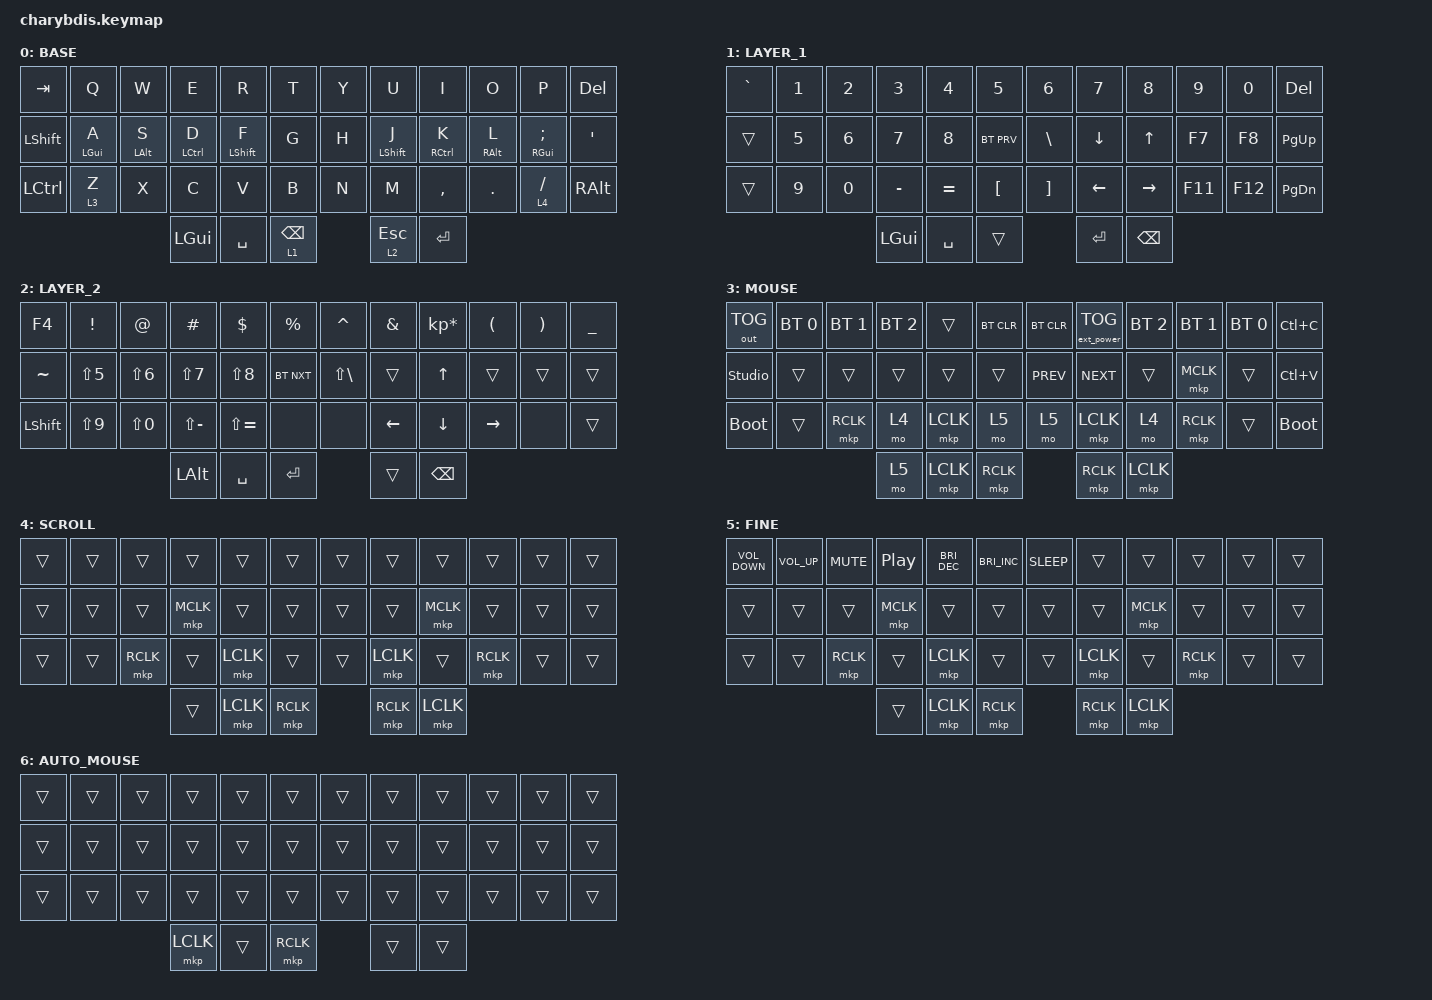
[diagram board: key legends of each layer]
#include <behaviors.dtsi>
#include <dt-bindings/zmk/keys.h>
#include <dt-bindings/zmk/bt.h>
#include <dt-bindings/zmk/ext_power.h>
#include <dt-bindings/zmk/mouse.h>
#include <dt-bindings/zmk/outputs.h>
#include <input/processors.dtsi>
#include <dt-bindings/zmk/input_transform.h>

#define U_TAPPING_TERM 200

/ {
    trackball_listener {
        compatible = "zmk,input-listener";
        device = <&trackball>;
        /* Default pointer mode:
         * - Slightly reduced sensitivity
         * - Automatically activates the AUTO-MOUSE temp layer when the trackball moves
         */
        input-processors = <&zip_xy_scaler 1 2>, <&zip_temp_layer 6 400>;

        /* Scroll mode: hold the layer-4 (SCROLL) layer while moving the trackball */
        scroll {
            layers = <4>; // SCROLL
            input-processors = <&zip_xy_scaler 1 5>, <&zip_xy_to_scroll_mapper>, <&zip_scroll_transform (INPUT_TRANSFORM_Y_INVERT)>;
        };
    };

    combos {
        compatible = "zmk,combos";

        LeftClickRight {
            bindings = <&mkp LCLK>;
            key-positions = <19 20>;
        };

        RightClickRight {
            bindings = <&mkp RCLK>;
            key-positions = <20 21>;
        };

        MiddleClickRight {
            bindings = <&mkp MCLK>;
            key-positions = <21 22>;
        };

        ParaLeft {
            bindings = <&kp LEFT_PARENTHESIS>;
            key-positions = <4 16>;
        };

        ParaRight {
            bindings = <&kp RIGHT_PARENTHESIS>;
            key-positions = <7 19>;
        };

        BrakLeft {
            bindings = <&kp LEFT_BRACKET>;
            key-positions = <3 15>;
        };

        BrakRight {
            bindings = <&kp RIGHT_BRACKET>;
            key-positions = <8 20>;
        };

        BraceLeft {
            bindings = <&kp LEFT_BRACE>;
            key-positions = <2 14>;
        };

        BraceRight {
            bindings = <&kp RIGHT_BRACE>;
            key-positions = <9 21>;
        };

        Delete {
            bindings = <&kp DELETE>;
            key-positions = <8 9>;
        };

        CapsWord {
            bindings = <&caps_word>;
            key-positions = <17 18>;
        };
    };

    behaviors {
        u_mt: u_mt {
            compatible = "zmk,behavior-hold-tap";
            label = "u_mt";
            #binding-cells = <2>;
            tapping_term_ms = <U_TAPPING_TERM>;
            flavor = "tap-preferred";
            bindings = <&kp>, <&kp>;
        };

        u_lt: u_lt {
            compatible = "zmk,behavior-hold-tap";
            label = "u_lt";
            #binding-cells = <2>;
            tapping_term_ms = <U_TAPPING_TERM>;
            flavor = "tap-preferred";
            bindings = <&mo>, <&kp>;
        };

        Shift_Enter: Shift_Enter {
            compatible = "zmk,behavior-hold-tap";
            label = "SHIFT_ENTER";
            bindings = <&kp>, <&kp>;

            #binding-cells = <2>;
            hold-trigger-key-positions = <40>;
            tapping-term-ms = <100>;
        };
    };

    keymap {
        compatible = "zmk,keymap";

        /* Layer indices (kept aligned to repo_2's logical mapping):
         * 0 BASE
         * 1 LAYER_1 (symbols/num/navigation)
         * 2 LAYER_2 (symbols/navigation)
         * 3 MOUSE
         * 4 SCROLL
         * 5 FINE
         * 6 AUTO-MOUSE (repo_1 advanced feature: temp layer on trackball movement)
         */

        BASE {
            bindings = <
&kp TAB            &kp Q             &kp W             &kp E          &kp R               &kp T    &kp Y  &kp U               &kp I          &kp O              &kp P            &kp DEL
&kp LEFT_SHIFT     &u_mt LEFT_GUI A  &u_mt LEFT_ALT S  &u_mt LCTRL D  &u_mt LEFT_SHIFT F  &kp G    &kp H  &u_mt LEFT_SHIFT J  &u_mt RCTRL K  &u_mt RIGHT_ALT L  &u_mt RIGHT_GUI SEMI  &kp APOS
&kp LCTRL          &u_lt 3 Z         &kp X             &kp C          &kp V               &kp B    &kp N  &kp M               &kp COMMA      &kp DOT            &u_lt 4 FSLH      &kp RIGHT_ALT
                                               &kp LGUI            &kp SPACE           &u_lt 1 BSPC    &u_lt 2 ESC  &kp RET
            >;
        };

        LAYER_1 {
            bindings = <
&kp GRAVE  &kp N1     &kp N2     &kp N3     &kp N4     &kp N5     &kp N6     &kp N7     &kp N8     &kp N9     &kp N0     &kp DEL
&trans     &kp N5     &kp N6     &kp N7     &kp N8     &bt BT_PRV  &kp BSLH   &kp DOWN   &kp UP     &kp F7     &kp F8     &kp PAGE_UP
&trans     &kp N9     &kp N0     &kp MINUS  &kp EQUAL  &kp LBKT   &kp RBKT   &kp LEFT   &kp RIGHT  &kp F11    &kp F12    &kp PAGE_DOWN
                               &kp LGUI    &kp SPACE  &trans      &kp RET    &kp BSPC
            >;
        };

        LAYER_2 {
            bindings = <
&kp F4     &kp EXCL   &kp AT      &kp HASH   &kp DLLR   &kp PRCNT  &kp CARET  &kp AMPS   &kp KP_MULTIPLY  &kp LEFT_PARENTHESIS  &kp RIGHT_PARENTHESIS  &kp UNDER
&kp TILDE  &kp LS(N5) &kp LS(N6)  &kp LS(N7) &kp LS(N8) &bt BT_NXT  &kp LS(BSLH)  &trans   &kp UP     &trans    &trans    &trans
&kp LEFT_SHIFT  &kp LS(N9) &kp LS(N0) &kp LS(MINUS) &kp LS(EQUAL)  &none  &none  &kp LEFT  &kp DOWN  &kp RIGHT  &none  &trans
                                 &kp LEFT_ALT  &kp SPACE  &kp RET  &trans  &kp BSPC
            >;
        };

        MOUSE {
            bindings = <
&out OUT_TOG    &bt BT_SEL 0  &bt BT_SEL 1  &bt BT_SEL 2  &trans        &bt BT_CLR  &bt BT_CLR  &ext_power EP_TOG  &bt BT_SEL 2  &bt BT_SEL 1  &bt BT_SEL 0  &kp LC(C)
&studio_unlock  &trans        &trans        &trans        &trans        &trans      &kp C_PREV  &kp C_NEXT   &trans        &mkp MCLK     &trans        &kp LC(V)
&bootloader    &trans        &mkp RCLK     &mo 4         &mkp LCLK     &mo 5       &mo 5       &mkp LCLK     &mo 4        &mkp RCLK     &trans        &bootloader
                                     &mo 5  &mkp LCLK   &mkp RCLK     &mkp RCLK   &mkp LCLK
            >;
        };

        SCROLL {
            bindings = <
&trans  &trans  &trans     &trans     &trans     &trans    &trans     &trans     &trans     &trans     &trans  &trans
&trans  &trans  &trans     &mkp MCLK  &trans     &trans    &trans     &trans     &mkp MCLK  &trans     &trans  &trans
&trans  &trans  &mkp RCLK  &trans     &mkp LCLK  &trans    &trans     &mkp LCLK  &trans     &mkp RCLK  &trans  &trans
                           &trans     &mkp LCLK  &mkp RCLK &mkp RCLK  &mkp LCLK
            >;
        };

        FINE {
            bindings = <
&kp C_VOLUME_DOWN  &kp C_VOLUME_UP  &kp C_MUTE  &kp C_PLAY_PAUSE  &kp C_BRIGHTNESS_DEC  &kp C_BRIGHTNESS_INC  &kp C_SLEEP  &trans  &trans  &trans  &trans  &trans
&trans  &trans  &trans     &mkp MCLK  &trans     &trans    &trans     &trans     &mkp MCLK  &trans     &trans  &trans
&trans  &trans  &mkp RCLK  &trans     &mkp LCLK  &trans    &trans     &mkp LCLK  &trans     &mkp RCLK  &trans  &trans
                           &trans     &mkp LCLK  &mkp RCLK &mkp RCLK  &mkp LCLK
            >;
        };

        AUTO_MOUSE {
            bindings = <
&trans  &trans  &trans  &trans  &trans  &trans    &trans  &trans  &trans  &trans  &trans  &trans
&trans  &trans  &trans  &trans  &trans  &trans    &trans  &trans  &trans  &trans  &trans  &trans
&trans  &trans  &trans  &trans  &trans  &trans    &trans  &trans  &trans  &trans  &trans  &trans
                        &mkp LCLK  &trans  &mkp RCLK  &trans  &trans
            >;
        };
    };
};
